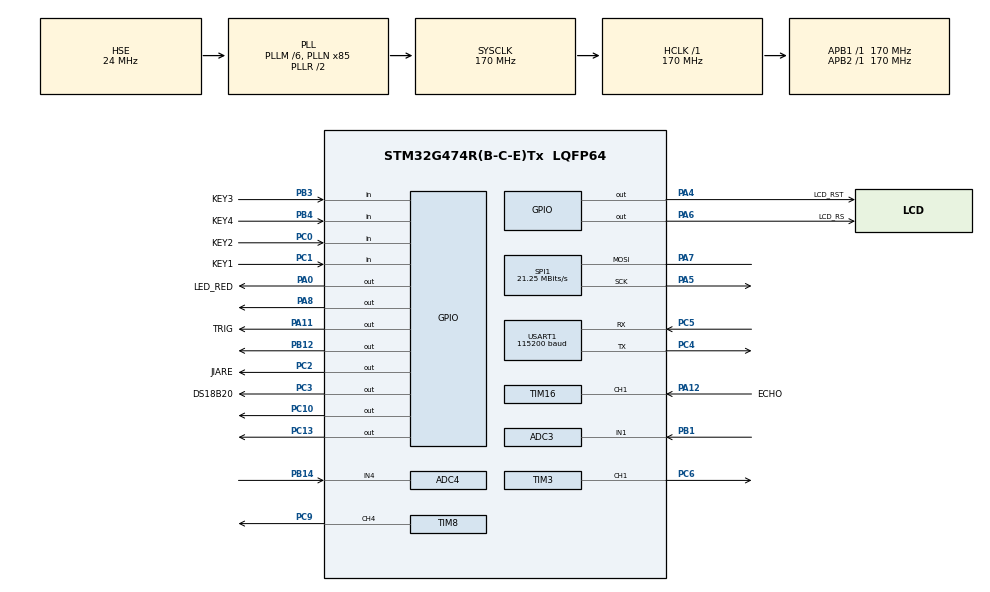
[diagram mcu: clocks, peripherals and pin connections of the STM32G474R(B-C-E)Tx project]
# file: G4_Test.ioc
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ADC3.Channel-3\#ChannelRegularConversion=ADC_CHANNEL_1
ADC3.NbrOfConversionFlag=1
ADC3.OffsetNumber-3\#ChannelRegularConversion=ADC_OFFSET_NONE
ADC3.Rank-3\#ChannelRegularConversion=1
ADC3.SamplingTime-3\#ChannelRegularConversion=ADC_SAMPLETIME_2CYCLES_5
ADC3.master=1
ADC4.Channel-2\#ChannelRegularConversion=ADC_CHANNEL_4
ADC4.NbrOfConversionFlag=1
ADC4.OffsetNumber-2\#ChannelRegularConversion=ADC_OFFSET_NONE
ADC4.Rank-2\#ChannelRegularConversion=1
ADC4.SamplingTime-2\#ChannelRegularConversion=ADC_SAMPLETIME_2CYCLES_5
Dma.Request0=TIM3_CH1
Dma.Request1=TIM8_CH4
Dma.TIM3_CH1.0.Direction=DMA_MEMORY_TO_PERIPH
Dma.TIM3_CH1.0.EventEnable=DISABLE
Dma.TIM3_CH1.0.Instance=DMA1_Channel1
Dma.TIM3_CH1.0.MemDataAlignment=DMA_MDATAALIGN_WORD
Dma.TIM3_CH1.0.MemInc=DMA_MINC_ENABLE
Dma.TIM3_CH1.0.Mode=DMA_NORMAL
Dma.TIM3_CH1.0.PeriphDataAlignment=DMA_PDATAALIGN_WORD
Dma.TIM3_CH1.0.PeriphInc=DMA_PINC_DISABLE
Dma.TIM3_CH1.0.Polarity=HAL_DMAMUX_REQ_GEN_RISING
Dma.TIM3_CH1.0.Priority=DMA_PRIORITY_LOW
Dma.TIM3_CH1.0.RequestNumber=1
Dma.TIM3_CH1.0.SignalID=NONE
Dma.TIM3_CH1.0.SyncEnable=DISABLE
Dma.TIM3_CH1.0.SyncPolarity=HAL_DMAMUX_SYNC_NO_EVENT
Dma.TIM3_CH1.0.SyncRequestNumber=1
Dma.TIM3_CH1.0.SyncSignalID=NONE
Dma.TIM8_CH4.1.Direction=DMA_MEMORY_TO_PERIPH
Dma.TIM8_CH4.1.EventEnable=DISABLE
Dma.TIM8_CH4.1.Instance=DMA1_Channel2
Dma.TIM8_CH4.1.MemDataAlignment=DMA_MDATAALIGN_HALFWORD
Dma.TIM8_CH4.1.MemInc=DMA_MINC_ENABLE
Dma.TIM8_CH4.1.Mode=DMA_NORMAL
Dma.TIM8_CH4.1.PeriphDataAlignment=DMA_PDATAALIGN_HALFWORD
Dma.TIM8_CH4.1.PeriphInc=DMA_PINC_DISABLE
Dma.TIM8_CH4.1.Polarity=HAL_DMAMUX_REQ_GEN_RISING
Dma.TIM8_CH4.1.Priority=DMA_PRIORITY_LOW
Dma.TIM8_CH4.1.RequestNumber=1
Dma.TIM8_CH4.1.SignalID=NONE
Dma.TIM8_CH4.1.SyncEnable=DISABLE
Dma.TIM8_CH4.1.SyncPolarity=HAL_DMAMUX_SYNC_NO_EVENT
Dma.TIM8_CH4.1.SyncRequestNumber=1
Dma.TIM8_CH4.1.SyncSignalID=NONE
Mcu.Family=STM32G4
Mcu.Name=STM32G474R(B-C-E)Tx
Mcu.Package=LQFP64
NVIC.ADC3_IRQn=true\:0\:0\:false\:false\:true\:true\:true\:true
NVIC.ADC4_IRQn=true\:0\:0\:false\:false\:true\:true\:true\:true
NVIC.DMA1_Channel1_IRQn=true\:0\:0\:false\:false\:true\:false\:true\:true
NVIC.DMA1_Channel2_IRQn=true\:0\:0\:false\:false\:true\:false\:true\:true
NVIC.PriorityGroup=NVIC_PRIORITYGROUP_4
NVIC.TIM1_UP_TIM16_IRQn=true\:0\:0\:false\:false\:true\:true\:true\:true
NVIC.TIM8_BRK_IRQn=true\:0\:0\:false\:false\:true\:true\:true\:true
NVIC.TIM8_CC_IRQn=true\:0\:0\:false\:false\:true\:true\:true\:true
NVIC.TIM8_TRG_COM_IRQn=true\:0\:0\:false\:false\:true\:true\:true\:true
NVIC.TIM8_UP_IRQn=true\:0\:0\:false\:false\:true\:true\:true\:true
PA0.GPIO_Label=LED_RED
PA0.PinState=GPIO_PIN_SET
PA0.Signal=GPIO_Output
PA11.GPIO_Label=TRIG
PA11.GPIO_Speed=GPIO_SPEED_FREQ_HIGH
PA11.Signal=GPIO_Output
PA12.GPIO_Label=ECHO
PA12.Signal=S_TIM16_CH1
PA13.Mode=Serial_Wire
PA13.Signal=SYS_JTMS-SWDIO
PA14.Mode=Serial_Wire
PA14.Signal=SYS_JTCK-SWCLK
PA4.GPIO_Label=LCD_RST
PA4.GPIO_PuPd=GPIO_NOPULL
PA4.GPIO_Speed=GPIO_SPEED_FREQ_LOW
PA4.PinState=GPIO_PIN_SET
PA4.Signal=GPIO_Output
PA5.Mode=Simplex_Bidirectional_Master
PA5.Signal=SPI1_SCK
PA6.GPIO_Label=LCD_RS
PA6.GPIO_Speed=GPIO_SPEED_FREQ_VERY_HIGH
PA6.PinState=GPIO_PIN_RESET
PA6.Signal=GPIO_Output
PA7.Mode=Simplex_Bidirectional_Master
PA7.Signal=SPI1_MOSI
PA8.Signal=GPIO_Output
PB1.Mode=IN1-Single-Ended
PB1.Signal=ADC3_IN1
PB12.Signal=GPIO_Output
PB14.Mode=IN4-Single-Ended
PB14.Signal=ADC4_IN4
PB3.GPIO_Label=KEY3
PB3.GPIO_PuPd=GPIO_PULLUP
PB3.Signal=GPIO_Input
PB4.GPIO_Label=KEY4
PB4.GPIO_PuPd=GPIO_PULLUP
PB4.Signal=GPIO_Input
PC0.GPIO_Label=KEY2
PC0.GPIO_PuPd=GPIO_PULLUP
PC0.Signal=GPIO_Input
PC1.GPIO_Label=KEY1
PC1.GPIO_PuPd=GPIO_PULLDOWN
PC1.Signal=GPIO_Input
PC10.Signal=GPIO_Output
PC13.Signal=GPIO_Output
PC14-OSC32_IN.Mode=LSE-External-Oscillator
PC14-OSC32_IN.Signal=RCC_OSC32_IN
PC15-OSC32_OUT.Mode=LSE-External-Oscillator
PC15-OSC32_OUT.Signal=RCC_OSC32_OUT
PC2.GPIO_Label=JIARE
PC2.Signal=GPIO_Output
PC3.GPIO_Label=DS18B20
PC3.Signal=GPIO_Output
PC4.Mode=Asynchronous
PC4.Signal=USART1_TX
PC5.Mode=Asynchronous
PC5.Signal=USART1_RX
PC6.GPIO_PuPd=GPIO_NOPULL
PC6.GPIO_Speed=GPIO_SPEED_FREQ_HIGH
PC6.Signal=S_TIM3_CH1
PC9.Signal=S_TIM8_CH4
PF0-OSC_IN.Mode=HSE-External-Oscillator
PF0-OSC_IN.Signal=RCC_OSC_IN
PF1-OSC_OUT.Mode=HSE-External-Oscillator
PF1-OSC_OUT.Signal=RCC_OSC_OUT
ProjectManager.HeapSize=0x200
ProjectManager.StackSize=0x400
ProjectManager.TargetToolchain=MDK-ARM V5.32
RCC.ADC12Freq_Value=170000000
RCC.ADC345Freq_Value=170000000
RCC.AHBFreq_Value=170000000
RCC.APB1Freq_Value=170000000
RCC.APB1TimFreq_Value=170000000
RCC.APB2Freq_Value=170000000
RCC.APB2TimFreq_Value=170000000
RCC.CortexFreq_Value=170000000
RCC.EXTERNAL_CLOCK_VALUE=12288000
RCC.HCLKFreq_Value=170000000
RCC.HSE_VALUE=24000000
RCC.HSI48_VALUE=48000000
RCC.HSI_VALUE=16000000
RCC.PLLM=RCC_PLLM_DIV6
RCC.PLLN=85
RCC.PLLSourceVirtual=RCC_PLLSOURCE_HSE
RCC.SYSCLKFreq_VALUE=170000000
RCC.SYSCLKSource=RCC_SYSCLKSOURCE_PLLCLK
RCC.USBFreq_Value=170000000
RCC.VCOOutputFreq_Value=340000000
SH.S_TIM16_CH1.0=TIM16_CH1,Input_Capture1_from_TI1
SH.S_TIM3_CH1.0=TIM3_CH1,Output Compare1 CH1
SH.S_TIM8_CH4.0=TIM8_CH4,PWM Generation4 CH4
SPI1.BaudRatePrescaler=SPI_BAUDRATEPRESCALER_8
SPI1.CLKPolarity=SPI_POLARITY_HIGH
SPI1.CalculateBaudRate=21.25 MBits/s
SPI1.DataSize=SPI_DATASIZE_8BIT
SPI1.Direction=SPI_DIRECTION_1LINE
SPI1.Mode=SPI_MODE_MASTER
SPI1.VirtualType=VM_MASTER
TIM16.Channel=TIM_CHANNEL_1
TIM16.Prescaler=71
TIM3.Channel-Output\ Compare1\ CH1=TIM_CHANNEL_1
TIM3.PeriodNoDither=499
TIM3.Prescaler=169
TIM8.Channel-PWM\ Generation4\ CH4=TIM_CHANNEL_4
USART1.BaudRate=115200
USART1.VirtualMode-Asynchronous=VM_ASYNC
VP_SYS_VS_DBSignals.Mode=DisableDeadBatterySignals
VP_TIM16_VS_ClockSourceINT.Mode=Enable_Timer
VP_TIM17_VS_ClockSourceINT.Mode=Enable_Timer
board=custom

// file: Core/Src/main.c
/* USER CODE BEGIN Header */
/**
  ******************************************************************************
  * @file           : main.c
  * @brief          : Main program body
  ******************************************************************************
  * @attention
  *
  * <h2><center>&copy; Copyright (c) 2021 STMicroelectronics.
  * All rights reserved.</center></h2>
  *
  * This software component is licensed by ST under BSD 3-Clause license,
  * the "License"; You may not use this file except in compliance with the
  * License. You may obtain a copy of the License at:
  *                        opensource.org/licenses/BSD-3-Clause
  *
  ******************************************************************************
  */
/* USER CODE END Header */
#include "main.h"
#include "adc.h"
#include "dma.h"
#include "spi.h"
#include "tim.h"
#include "usart.h"
#include "gpio.h"

/* USER CODE BEGIN Includes */
#include "spi_tftlcd.h"
#include "GUI.h"
//#include "font.h"
#include "stdio.h"
//#include "csb.h"
#include "string.h"
#include "zd.h"
#include "phcs.h"
#include "key.h"
#include "ds18b20.h"
#include "rgb.h"
/* USER CODE END Includes */

/* USER CODE BEGIN PTD */
extern uint csb;
uint8_t temperature;
uint8_t humidity;
void ESP8266_SendATCommand(char *cmd);
int i=0;
//int fputc(int ch, FILE *f){
//HAL_UART_Transmit (&huart1,(uint8_t *)&ch,1,0xffff);
//return ch;
//}

#define TRIG_ON HAL_GPIO_WritePin(TRIG_GPIO_Port, TRIG_Pin, GPIO_PIN_SET);
#define TRIG_OFF HAL_GPIO_WritePin(TRIG_GPIO_Port, TRIG_Pin, GPIO_PIN_RESET);
double S1,S2,distance; //数据1，数据2，距离
int32_t distance1; //距离1
uint32_t chaoshenbo_flag=0;
double chaoshenbo_data = 0;

/* USER CODE BEGIN 0 */

/* USER CODE END PTD */

void SystemClock_Config(void);

/* USER CODE BEGIN 0 */

/* USER CODE END PTD */

/* Private define ------------------------------------------------------------*/
/* USER CODE BEGIN PD */

/* USER CODE END PD */

/* Private macro -------------------------------------------------------------*/
/* USER CODE BEGIN PM */

/* USER CODE END PM */

/* Private variables ---------------------------------------------------------*/

/* USER CODE BEGIN PV */

/* USER CODE END PV */

/* Private function prototypes -----------------------------------------------*/
void SystemClock_Config(void);
/* USER CODE BEGIN PFP */

/* USER CODE END PFP */

/* Private user code ---------------------------------------------------------*/
/* USER CODE BEGIN 0 */

/* USER CODE END PTD */

/* Private define ------------------------------------------------------------*/
/* USER CODE BEGIN PD */

/* USER CODE END PD */

/* Private macro -------------------------------------------------------------*/
/* USER CODE BEGIN PM */

/* USER CODE END PM */

/* Private variables ---------------------------------------------------------*/

/* USER CODE BEGIN PV */

/* USER CODE END PV */

/* Private function prototypes -----------------------------------------------*/
void SystemClock_Config(void);
/* USER CODE BEGIN PFP */

/* USER CODE END PFP */

/* Private user code ---------------------------------------------------------*/
/* USER CODE BEGIN 0 */

/* USER CODE END PTD */

/* Private define ------------------------------------------------------------*/
/* USER CODE BEGIN PD */

/* USER CODE END PD */

/* Private macro -------------------------------------------------------------*/
/* USER CODE BEGIN PM */

/* USER CODE END PM */

/* Private variables ---------------------------------------------------------*/

/* USER CODE BEGIN PV */

/* USER CODE END PV */

/* Private function prototypes -----------------------------------------------*/
void SystemClock_Config(void);
/* USER CODE BEGIN PFP */

/* USER CODE END PFP */

/* Private user code ---------------------------------------------------------*/
/* USER CODE BEGIN 0 */

/* USER CODE END PTD */

/* Private define ------------------------------------------------------------*/
/* USER CODE BEGIN PD */

/* USER CODE END PD */

/* Private macro -------------------------------------------------------------*/
/* USER CODE BEGIN PM */

/* USER CODE END PM */

/* Private variables ---------------------------------------------------------*/

/* USER CODE BEGIN PV */

/* USER CODE END PV */

/* Private function prototypes -----------------------------------------------*/
void SystemClock_Config(void);
/* USER CODE BEGIN PFP */

/* USER CODE END PFP */

/* Private user code ---------------------------------------------------------*/
/* USER CODE BEGIN 0 */

/* USER CODE END PTD */

/* Private define ------------------------------------------------------------*/
/* USER CODE BEGIN PD */

/* USER CODE END PD */

/* Private macro -------------------------------------------------------------*/
/* USER CODE BEGIN PM */

/* USER CODE END PM */

/* Private variables ---------------------------------------------------------*/

/* USER CODE BEGIN PV */

/* USER CODE END PV */

/* Private function prototypes -----------------------------------------------*/
void SystemClock_Config(void);
/* USER CODE BEGIN PFP */

/* USER CODE END PFP */

/* Private user code ---------------------------------------------------------*/
/* USER CODE BEGIN 0 */

/* USER CODE END PTD */

/* Private define ------------------------------------------------------------*/
/* USER CODE BEGIN PD */

/* USER CODE END PD */

/* Private macro -------------------------------------------------------------*/
/* USER CODE BEGIN PM */

/* USER CODE END PM */

/* Private variables ---------------------------------------------------------*/

/* USER CODE BEGIN PV */

/* USER CODE END PV */

/* Private function prototypes -----------------------------------------------*/
void SystemClock_Config(void);
/* USER CODE BEGIN PFP */

/* USER CODE END PFP */

/* Private user code ---------------------------------------------------------*/
/* USER CODE BEGIN 0 */
void chaoShenBo(){
htim16.Instance->CNT=0;
TRIG_OFF;
TRIG_ON;
HAL_Delay(1);
TRIG_OFF; //根据时序要求拉低TR引脚，等待EC引脚回应
while(HAL_GPIO_ReadPin(ECHO_GPIO_Port,ECHO_Pin)==GPIO_PIN_RESET);
S1=htim16.Instance->CNT; //EC回应低，记录其时间S1
while(HAL_GPIO_ReadPin(ECHO_GPIO_Port,ECHO_Pin)==1);
S2=htim16.Instance->CNT; //EC回应高，记录其时间S2
distance=(S2-S1)*0.034/2; //用时间S2-S1=声波返回时间 再乘0.034/2（声速/2）=距离 时间*速度=距离
distance1=distance*100; //将小数放大百倍
distance=distance1; //转化为整数型 去掉后面尾数 保证数据精确 反正我是这样子想的
distance/=100; //转回浮点数
//distance-=90;
}
//蜂鸣器
//HAL_GPIO_WritePin(GPIOA,GPIO_PIN_8,GPIO_PIN_RESET);
//加热棒
//		HAL_GPIO_WritePin(GPIOC,GPIO_PIN_2,GPIO_PIN_SET);
//		HAL_Delay(5000);
/* USER CODE END PTD */

/* Private define ------------------------------------------------------------*/
/* USER CODE BEGIN PD */

/* USER CODE END PD */

/* Private macro -------------------------------------------------------------*/
/* USER CODE BEGIN PM */

/* USER CODE END PM */

/* Private variables ---------------------------------------------------------*/

/* USER CODE BEGIN PV */

/* USER CODE END PV */

/* Private function prototypes -----------------------------------------------*/
void SystemClock_Config(void);
/* USER CODE BEGIN PFP */

/* USER CODE END PFP */

/* Private user code ---------------------------------------------------------*/
/* USER CODE BEGIN 0 */

/* USER CODE END PTD */

/* Private define ------------------------------------------------------------*/
/* USER CODE BEGIN PD */

/* USER CODE END PD */

/* Private macro -------------------------------------------------------------*/
/* USER CODE BEGIN PM */

/* USER CODE END PM */

/* Private variables ---------------------------------------------------------*/

/* USER CODE BEGIN PV */

/* USER CODE END PV */

/* Private function prototypes -----------------------------------------------*/
void SystemClock_Config(void);
/* USER CODE BEGIN PFP */

/* USER CODE END PFP */

/* Private user code ---------------------------------------------------------*/
/* USER CODE BEGIN 0 */

/* USER CODE END 0 */

int main(void)
{
  /* USER CODE BEGIN 1 */
unsigned char key_value;
	int a=0,e=0,c=0,d=0;
  /* USER CODE END 1 */

  /* MCU Configuration--------------------------------------------------------*/

  /* Reset of all peripherals, Initializes the Flash interface and the Systick. */
  HAL_Init();

  /* Configure the system clock */
  SystemClock_Config();

  /* Initialize all configured peripherals */
  MX_GPIO_Init();
  MX_DMA_Init();
  MX_SPI1_Init();
  MX_USART1_UART_Init();
  MX_TIM16_Init();
  MX_ADC4_Init();
  MX_ADC3_Init();
  MX_TIM17_Init();
  MX_TIM3_Init();
  MX_TIM8_Init();
  /* USER CODE BEGIN 2 */
	/* USER CODE BEGIN 2 */
	Lcd_Init();
	//HAL_TIM_IC_CaptureCallback(&htim16);
	//HAL_TIM_IC_Start_IT(&htim16,TIM_CHANNEL_1);
	HAL_TIM_Base_Start_IT(&htim16);
	HAL_TIM_PWM_Start(&htim3,TIM_CHANNEL_1);
	HAL_TIM_PWM_Start(&htim8,TIM_CHANNEL_4);
	Init_DS18B20();
	int pwmval=0;
  /* USER CODE END 2 */

  /* Infinite loop */
  /* USER CODE BEGIN WHILE */
	Lcd_Clear(BLACK);
  Gui_DrawFont_GBK16(16,60,WHITE,BLACK,(uint8_t *)"团队名称：ZDZ");
	Gui_DrawFont_GBK16(16,80,WHITE,BLACK,(uint8_t *)"团队编号：11645");
	Gui_DrawFont_GBK16(16,100,WHITE,BLACK,(uint8_t *)"项目名称：懒人养鱼缸");
	Gui_DrawFont_GBK16(16,150,WHITE,BLACK,(uint8_t *)"团队成员:组长：张帅文");
	Gui_DrawFont_GBK16(90,170,WHITE,BLACK,(uint8_t *)"组员：董夕雨,周思辉");
	HAL_GPIO_WritePin(GPIOC,GPIO_PIN_13,GPIO_PIN_RESET);
  while (1)
  {
//		HAL_GPIO_WritePin(GPIOC,GPIO_PIN_10,GPIO_PIN_SET);
//		HAL_GPIO_WritePin(GPIOB,GPIO_PIN_12,GPIO_PIN_SET);
		//led_loop();
	while(pwmval < 500)
		{
			pwmval++;
			__HAL_TIM_SET_COMPARE(&htim8,TIM_CHANNEL_4,pwmval);
			HAL_Delay(1);
		}
		while(pwmval>1)
		{
			pwmval--;
			__HAL_TIM_SET_COMPARE(&htim8,TIM_CHANNEL_4,pwmval);
			HAL_Delay(1);
		}
		HAL_Delay(200);

    /* USER CODE END WHILE */

    /* USER CODE BEGIN 3 */
		key_value	= KEY_Scan(0);
	if(key_value == KEY1_PRES)
	{
		Lcd_Clear(BLACK);
		a=1;
	}
	if(key_value == KEY2_PRES)
	{
		c=1;

	}
	if(key_value == KEY3_PRES)
	{
		d=1;

	}
	if(key_value == KEY4_PRES)
	{
		e=!e;

	}
	if(a==1)
	{
		char b[30];
		sprintf(b,"浊度:%.2f",getadc(&hadc4));
		Gui_DrawFont_GBK16(16,60,WHITE,BLACK,(uint8_t*)b);
		__HAL_RCC_GPIOB_CLK_ENABLE();

		sprintf(b,"PH值:%.3f",PHadc(&hadc3));
		Gui_DrawFont_GBK16(16,80,WHITE,BLACK,(uint8_t*)b);

		chaoShenBo();
		sprintf(b,"水位:%.2f",distance);
		Gui_DrawFont_GBK16(16,100,WHITE,BLACK,(uint8_t*)b);

		sprintf(b,"温度:%d",Read_Temperature());
		Gui_DrawFont_GBK16(16,120,WHITE,BLACK,(uint8_t *)b);
		if(c==0)
	{
		//HAL_GPIO_WritePin(GPIOC,GPIO_PIN_13,GPIO_PIN_SET);
		Gui_DrawFont_GBK16(16,210,WHITE,BLACK,(uint8_t *)"喂食器：关闭");
	}
	if(c==1)
	{
		for(int i=0;i<=5;i++)
		{
		HAL_GPIO_WritePin(GPIOC,GPIO_PIN_13,GPIO_PIN_SET);
		Gui_DrawFont_GBK16(16,210,WHITE,BLACK,(uint8_t *)"喂食器：打开");
		}
		HAL_GPIO_WritePin(GPIOC,GPIO_PIN_13,GPIO_PIN_RESET);
		Gui_DrawFont_GBK16(16,210,WHITE,BLACK,(uint8_t *)"喂食器：关闭");
		c=0;
	}
	if(d==0)
	{
		HAL_GPIO_WritePin(GPIOB,GPIO_PIN_12,GPIO_PIN_RESET);
		Gui_DrawFont_GBK16(16,190,WHITE,BLACK,(uint8_t *)"出水电机：关闭");
		HAL_GPIO_WritePin(GPIOC,GPIO_PIN_10,GPIO_PIN_RESET);
		Gui_DrawFont_GBK16(16,170,WHITE,BLACK,(uint8_t *)"进水电机：关闭");
	}
	if(d==1)
	{
		if(distance<70&&distance>20)
		{
		HAL_GPIO_WritePin(GPIOB,GPIO_PIN_12,GPIO_PIN_SET);
		Gui_DrawFont_GBK16(16,190,WHITE,BLACK,(uint8_t *)"出水电机：开启");
		}
		if(distance>70)
		{
			HAL_GPIO_WritePin(GPIOB,GPIO_PIN_12,GPIO_PIN_RESET);
			Gui_DrawFont_GBK16(16,190,WHITE,BLACK,(uint8_t *)"出水电机：关闭");
			HAL_GPIO_WritePin(GPIOC,GPIO_PIN_10,GPIO_PIN_SET);
			Gui_DrawFont_GBK16(16,170,WHITE,BLACK,(uint8_t *)"进水电机：开启");
		}
		if(distance<20)
		{
			HAL_GPIO_WritePin(GPIOC,GPIO_PIN_10,GPIO_PIN_RESET);
			Gui_DrawFont_GBK16(16,170,WHITE,BLACK,(uint8_t *)"进水电机：关闭");
			d=0;
		}

	}
	if(e==0||Read_Temperature()>25)
	{
		HAL_GPIO_WritePin(GPIOC,GPIO_PIN_2,GPIO_PIN_RESET);
		Gui_DrawFont_GBK16(16,150,WHITE,BLACK,(uint8_t *)"加热棒：关闭");
	}
	if(e==1||Read_Temperature()<20)
	{
		HAL_GPIO_WritePin(GPIOC,GPIO_PIN_2,GPIO_PIN_RESET);
		Gui_DrawFont_GBK16(16,150,WHITE,BLACK,(uint8_t *)"加热棒：开启");
	}
	if(Read_Temperature()>=30)
	{
		HAL_GPIO_WritePin(GPIOA,GPIO_PIN_8,GPIO_PIN_SET);
	}
	if(Read_Temperature()<30)
	{
		HAL_GPIO_WritePin(GPIOA,GPIO_PIN_8,GPIO_PIN_RESET);
	}
	}

  }
  /* USER CODE END 3 */
}

void SystemClock_Config(void)
{
  RCC_OscInitTypeDef RCC_OscInitStruct = {0};
  RCC_ClkInitTypeDef RCC_ClkInitStruct = {0};
  RCC_PeriphCLKInitTypeDef PeriphClkInit = {0};

  /** Configure the main internal regulator output voltage
  */
  HAL_PWREx_ControlVoltageScaling(PWR_REGULATOR_VOLTAGE_SCALE1_BOOST);
  /** Initializes the RCC Oscillators according to the specified parameters
  * in the RCC_OscInitTypeDef structure.
  */
  RCC_OscInitStruct.OscillatorType = RCC_OSCILLATORTYPE_HSE;
  RCC_OscInitStruct.HSEState = RCC_HSE_ON;
  RCC_OscInitStruct.PLL.PLLState = RCC_PLL_ON;
  RCC_OscInitStruct.PLL.PLLSource = RCC_PLLSOURCE_HSE;
  RCC_OscInitStruct.PLL.PLLM = RCC_PLLM_DIV6;
  RCC_OscInitStruct.PLL.PLLN = 85;
  RCC_OscInitStruct.PLL.PLLP = RCC_PLLP_DIV2;
  RCC_OscInitStruct.PLL.PLLQ = RCC_PLLQ_DIV2;
  RCC_OscInitStruct.PLL.PLLR = RCC_PLLR_DIV2;
  if (HAL_RCC_OscConfig(&RCC_OscInitStruct) != HAL_OK)
  {
    Error_Handler();
  }
  /** Initializes the CPU, AHB and APB buses clocks
  */
  RCC_ClkInitStruct.ClockType = RCC_CLOCKTYPE_HCLK|RCC_CLOCKTYPE_SYSCLK
                              |RCC_CLOCKTYPE_PCLK1|RCC_CLOCKTYPE_PCLK2;
  RCC_ClkInitStruct.SYSCLKSource = RCC_SYSCLKSOURCE_PLLCLK;
  RCC_ClkInitStruct.AHBCLKDivider = RCC_SYSCLK_DIV1;
  RCC_ClkInitStruct.APB1CLKDivider = RCC_HCLK_DIV1;
  RCC_ClkInitStruct.APB2CLKDivider = RCC_HCLK_DIV1;

  if (HAL_RCC_ClockConfig(&RCC_ClkInitStruct, FLASH_LATENCY_4) != HAL_OK)
  {
    Error_Handler();
  }
  /** Initializes the peripherals clocks
  */
  PeriphClkInit.PeriphClockSelection = RCC_PERIPHCLK_USART1|RCC_PERIPHCLK_ADC345;
  PeriphClkInit.Usart1ClockSelection = RCC_USART1CLKSOURCE_PCLK2;
  PeriphClkInit.Adc345ClockSelection = RCC_ADC345CLKSOURCE_SYSCLK;
  if (HAL_RCCEx_PeriphCLKConfig(&PeriphClkInit) != HAL_OK)
  {
    Error_Handler();
  }
}

/* USER CODE BEGIN 4 */
/* 发送AT指令 */
//void ESP8266_SendATCommand(char *cmd)
//{
//  HAL_UART_Transmit(&huart1, (uint8_t *)cmd, strlen(cmd), HAL_MAX_DELAY);
//  HAL_UART_Transmit(&huart1, (uint8_t *)"\r\n", 2, HAL_MAX_DELAY);
//}
///* 接收ESP8266响应 */
//uint8_t ESP8266_ReadResponse(char *response, uint32_t timeout)
//{
//    uint8_t index = 0;
//    uint32_t tickstart = HAL_GetTick();
//    do {
//        if(HAL_UART_Receive(&huart1, (uint8_t *)&response[index], sizeof(char), 0xFF) == HAL_OK) {
//            index++;
//            /* 如果接收到了完整的响应，返回成功 */
//            if(strstr(response, "OK")) {
//                return 1;
//            }
//        }
//    } while((HAL_GetTick() - tickstart) < timeout);

//    /* 指定时间内未接收到响应，返回失败 */
//    return 0;
//}

/* USER CODE END 4 */

void Error_Handler(void)
{
  __disable_irq();
  while (1)
  {
  }
}

/************************ (C) COPYRIGHT STMicroelectronics *****END OF FILE****/
